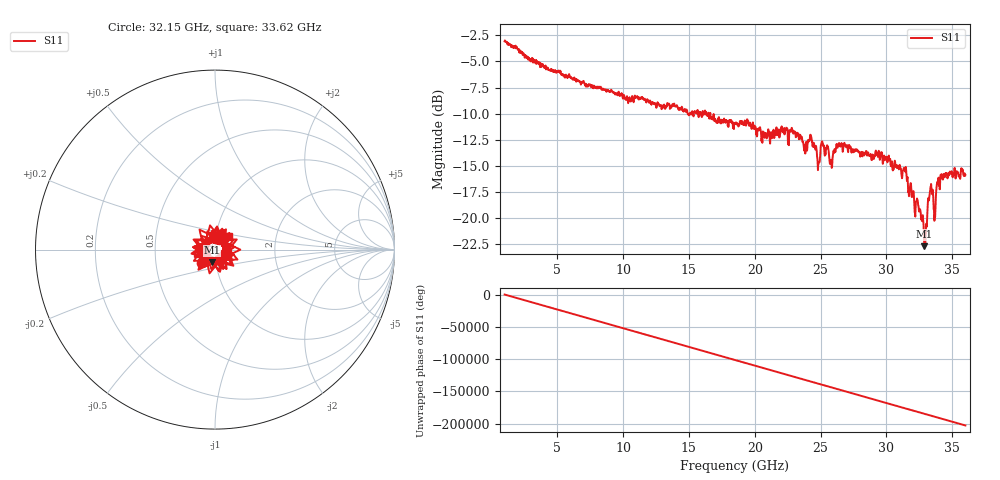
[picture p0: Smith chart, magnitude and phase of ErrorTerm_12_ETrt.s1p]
!  1-Port S-parameters saved by WinCal
! VAR NAME=Unknown labuser
! VAR Error Term Name=ETrt phys rcv port 1 phys src port 2
# Hz S RI R 50
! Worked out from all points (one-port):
!   1601 points, 1 GHz to 36 GHz, reference 50 ohm
!   lowest |S11| = -22.7 dB at 32.89 GHz (marker M1), VSWR 1.16, Z = 47.8 - j6.82 ohm
!   |S11| at or under -10 dB: 14.93 GHz to 15.06 GHz (132.3 MHz wide, 0.882 % of centre); 15.91 GHz to 16.04 GHz (128.2 MHz wide, 0.802 % of centre); 16.62 GHz to end of sweep (the widest 3 of 9)
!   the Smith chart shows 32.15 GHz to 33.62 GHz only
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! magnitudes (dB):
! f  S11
! 1 GHz  -3.1
! 5.375 GHz  -6.2
! 9.75 GHz  -8.3
! 14.12 GHz  -9.4
! 18.5 GHz  -11.0
! 19.4 GHz  -10.9
! 20.67 GHz  -11.9
! 22.88 GHz  -11.6
! 23.82 GHz  -13.4
! 24.34 GHz  -12.7
! 24.8 GHz  -15.4
! 25.17 GHz  -12.9
! 25.78 GHz  -14.4
! 26.35 GHz  -13.0
! 27.25 GHz  -13.3
! 30.12 GHz  -14.4
! 31.43 GHz  -15.6
! 31.62 GHz  -16.5
! 32.08 GHz  -17.8
! 32.43 GHz  -18.9
! 32.89 GHz  -22.7
! 33.02 GHz  -20.6
! 33.22 GHz  -18.4
! 33.35 GHz  -17.0
! 33.64 GHz  -20.3
! 33.97 GHz  -16.1
! 34.27 GHz  -16.2
! 36 GHz  -15.9
